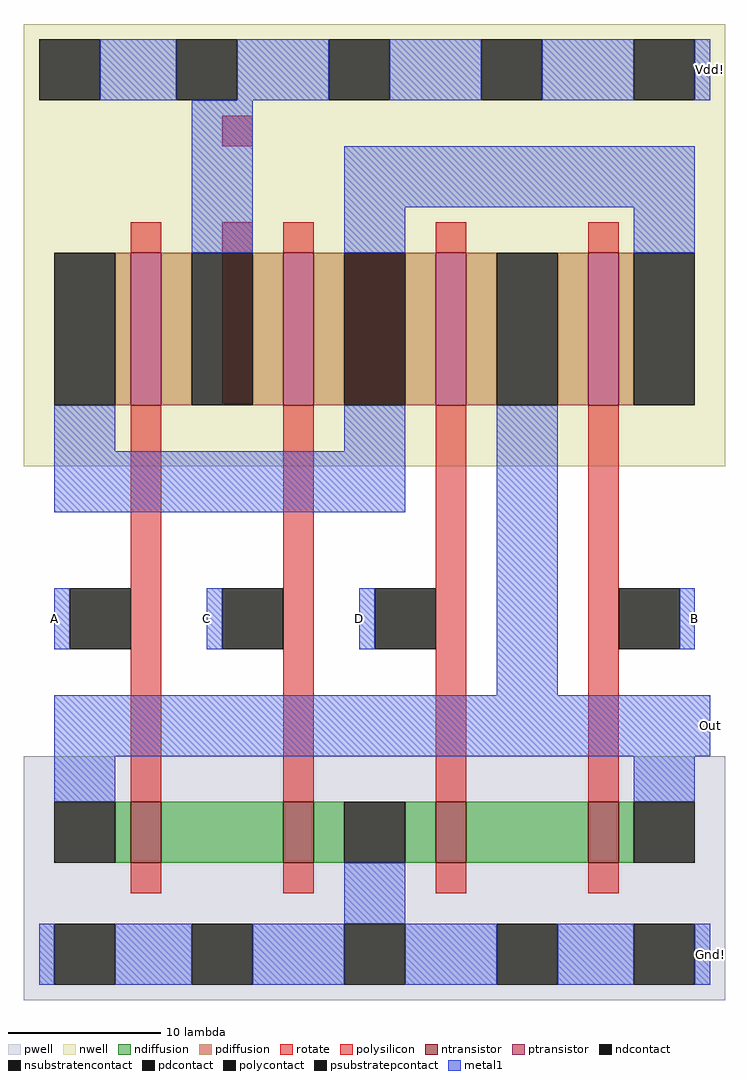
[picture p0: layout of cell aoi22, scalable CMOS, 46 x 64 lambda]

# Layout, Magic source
magic
tech scmos
<< rotate >>
rect 7 20 9 22
rect 7 3 9 15
rect 15 3 19 13
<< pwell >>
rect -6 -36 40 -20
<< nwell >>
rect -6 -1 40 28
<< polysilicon >>
rect 1 13 3 15
rect 11 13 13 15
rect 21 13 23 15
rect 31 13 33 15
rect 1 -23 3 3
rect 11 -23 13 3
rect 21 -23 23 3
rect 31 -23 33 3
rect 1 -29 3 -27
rect 11 -29 13 -27
rect 21 -29 23 -27
rect 31 -29 33 -27
<< ndiffusion >>
rect 0 -27 1 -23
rect 3 -27 11 -23
rect 13 -27 15 -23
rect 19 -27 21 -23
rect 23 -27 31 -23
rect 33 -27 34 -23
<< pdiffusion >>
rect 0 3 1 13
rect 3 3 5 13
rect 9 3 11 13
rect 13 3 15 13
rect 19 3 21 13
rect 23 3 25 13
rect 29 3 31 13
rect 33 3 34 13
<< metal1 >>
rect -1 23 4 27
rect 8 23 14 27
rect 18 23 24 27
rect 28 23 34 27
rect 38 23 39 27
rect 5 13 9 23
rect 15 16 38 20
rect 15 13 19 16
rect 34 13 38 16
rect -4 0 0 3
rect 15 0 19 3
rect -4 -4 19 0
rect -4 -13 -3 -9
rect 6 -13 7 -9
rect 16 -13 17 -9
rect 25 -16 29 3
rect 37 -13 38 -9
rect -4 -20 39 -16
rect -4 -23 0 -20
rect 34 -23 38 -20
rect 15 -31 19 -27
rect -5 -35 -4 -31
rect 0 -35 5 -31
rect 9 -35 15 -31
rect 19 -35 25 -31
rect 29 -35 34 -31
rect 38 -35 39 -31
<< ntransistor >>
rect 1 -27 3 -23
rect 11 -27 13 -23
rect 21 -27 23 -23
rect 31 -27 33 -23
<< ptransistor >>
rect 1 3 3 13
rect 11 3 13 13
rect 21 3 23 13
rect 31 3 33 13
<< polycontact >>
rect -3 -13 1 -9
rect 7 -13 11 -9
rect 17 -13 21 -9
rect 33 -13 37 -9
<< ndcontact >>
rect -4 -27 0 -23
rect 15 -27 19 -23
rect 34 -27 38 -23
<< pdcontact >>
rect -4 3 0 13
rect 5 3 9 13
rect 15 3 19 13
rect 25 3 29 13
rect 34 3 38 13
<< psubstratepcontact >>
rect -4 -35 0 -31
rect 5 -35 9 -31
rect 15 -35 19 -31
rect 25 -35 29 -31
rect 34 -35 38 -31
<< nsubstratencontact >>
rect -5 23 -1 27
rect 4 23 8 27
rect 14 23 18 27
rect 24 23 28 27
rect 34 23 38 27
<< labels >>
rlabel metal1 39 25 39 25 6 Vdd!
rlabel metal1 -4 -13 -4 -9 3 A
rlabel metal1 6 -13 6 -9 1 C
rlabel metal1 16 -13 16 -9 1 D
rlabel metal1 38 -13 38 -9 7 B
rlabel metal1 39 -20 39 -16 7 Out
rlabel metal1 39 -33 39 -33 8 Gnd!
<< end >>
